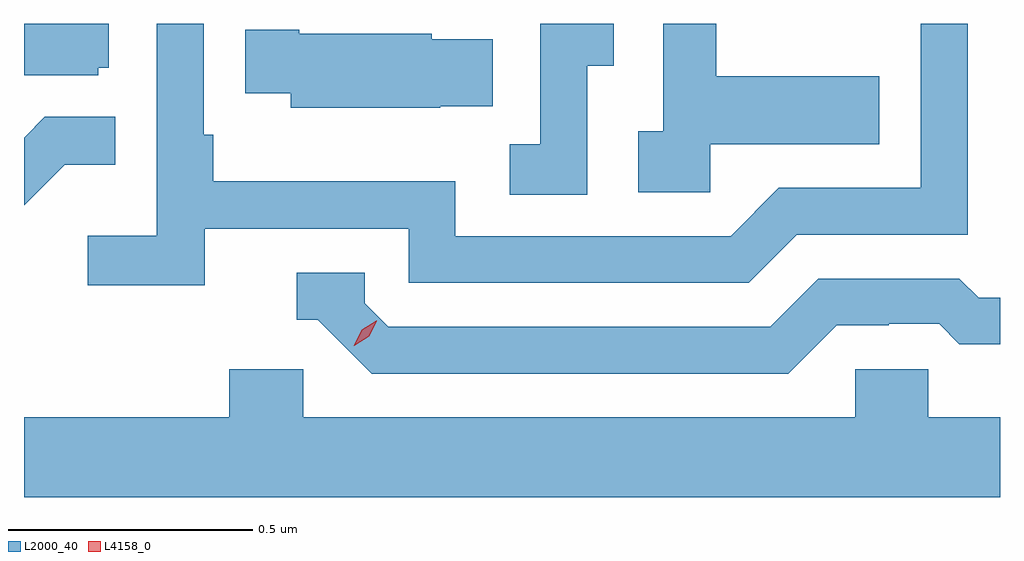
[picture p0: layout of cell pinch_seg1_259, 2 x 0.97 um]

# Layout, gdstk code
import gdstk
lib = gdstk.Library(unit=1e-6, precision=1e-09)
def P(c, l, *ps):  # polygons
    for p in ps: c.add(gdstk.Polygon(p, *l))
L2000_40 = (2000, 40)
L4158_0 = (4158, 0)

pinch_seg1_259 = lib.new_cell('pinch_seg1_259')
P(pinch_seg1_259, L2000_40, [(913.616,573.594),(914.034,573.594),(914.034,573.483),(914.731,573.483),(914.83,573.582),(915.18,573.582),(915.18,574.014),(915.084,574.014),(915.084,573.678),(914.793,573.678),(914.694,573.579),(914.13,573.579),(914.13,573.691),(913.634,573.691),(913.634,573.787),(913.614,573.787),(913.614,574.014),(913.518,574.014),(913.518,573.58),(913.377,573.58),(913.377,573.478),(913.616,573.478)],
  [(914.652,573.767),(914.999,573.767),(914.999,573.907),(914.665,573.907),(914.665,574.014),(914.556,574.014),(914.556,573.794),(914.505,573.794),(914.505,573.669),(914.652,573.669)],
  [(914.4,573.928),(914.455,573.928),(914.455,574.014),(914.304,574.014),(914.304,573.767),(914.241,573.767),(914.241,573.664),(914.4,573.664)],
  [(913.398,573.924),(913.42,573.924),(913.42,574.014),(913.246,574.014),(913.246,573.909),(913.398,573.909)],
  [(914.099,573.845),(914.207,573.845),(914.207,573.982),(914.082,573.982),(914.082,573.994),(913.81,573.994),(913.81,574.002),(913.699,574.002),(913.699,573.872),(913.793,573.872),(913.793,573.842),(914.099,573.842)],
  [(913.329,573.725),(913.433,573.725),(913.433,573.824),(913.289,573.824),(913.246,573.781),(913.246,573.642)],
  [(914.911,573.396),(915.018,573.396),(915.018,573.399),(915.121,573.399),(915.163,573.357),(915.246,573.357),(915.246,573.453),(915.202,573.453),(915.163,573.492),(914.874,573.492),(914.775,573.393),(913.992,573.393),(913.944,573.441),(913.944,573.504),(913.805,573.504),(913.805,573.408),(913.848,573.408),(913.959,573.297),(914.812,573.297)],
  [(915.246,573.208),(915.099,573.208),(915.099,573.306),(914.949,573.306),(914.949,573.208),(913.818,573.208),(913.818,573.306),(913.667,573.306),(913.667,573.208),(913.246,573.208),(913.246,573.044),(915.246,573.044)])
P(pinch_seg1_259, L4158_0, [(913.922,573.354),(913.922,573.354),(913.938,573.387),(913.968,573.406),(913.969,573.406),(913.969,573.406),(913.953,573.374),(913.923,573.354)])

lib.write_gds('pinch_seg1_259.gds')
